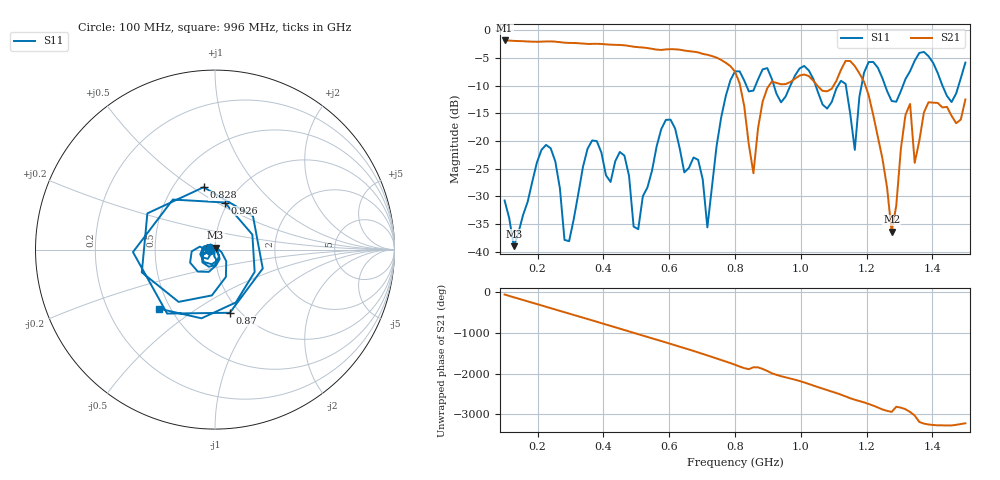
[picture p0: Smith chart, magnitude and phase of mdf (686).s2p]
! NanoVNA-App
! Date: 2025-09-25 15:43:45
! Start: 100MHz Stop: 1,5GHz Points: 101
! S-Parameter data: F S11 S21 S12 S22
# Hz S RI R 50
!  Frequency  S11_Real  S11_Imag  S21_Real  S21_Imag  S12_Real  S12_Imag  S22_Real  S22_Imag
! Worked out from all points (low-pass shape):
!   101 points, 100 MHz to 1.5 GHz, reference 50 ohm
!   highest |S21| = -1.80 dB at 100 MHz (marker M1); lowest = -36.4 dB at 1.276 GHz (marker M2)
!   |S21| within 3 dB of the highest: start of sweep to 739.1 MHz
!   lowest |S11| = -39.0 dB at 128 MHz (marker M3), VSWR 1.02, Z = 50.3 + j1.08 ohm
!   |S11| at or under -10 dB: start of sweep to 781.1 MHz; 1.045 GHz to 1.113 GHz (67.56 MHz wide, 6.26 % of centre); 1.256 GHz to 1.31 GHz (53.83 MHz wide, 4.2 % of centre) (the widest 3 of 7)
!   S12 and S22 are empty: the file has one direction only
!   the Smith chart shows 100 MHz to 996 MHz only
!   S11 on the Smith chart (normalised r, x): 100 MHz: 0.94, -0.01; 828 MHz: 0.70, +0.56; 870 MHz: 0.90, -0.73; 926 MHz: 0.96, +0.55; 996 MHz: 0.44, -0.36
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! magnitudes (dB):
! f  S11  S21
! 100 MHz  -30.7  -1.8
! 128 MHz  -39.0  -1.9
! 212 MHz  -21.6  -2.0
! 282 MHz  -37.9  -2.2
! 338 MHz  -24.7  -2.4
! 464 MHz  -22.6  -2.7
! 506 MHz  -35.9  -3.0
! 576 MHz  -17.8  -3.5
! 716 MHz  -35.6  -4.4
! 800 MHz  -7.4  -7.4
! 828 MHz  -9.0  -13.7
! 856 MHz  -10.9  -25.8
! 870 MHz  -8.8  -17.7
! 926 MHz  -11.4  -9.5
! 996 MHz  -6.9  -8.2
! 1.038 GHz  -8.7  -9.1
! 1.164 GHz  -21.6  -6.4
! 1.192 GHz  -7.6  -9.3
! 1.276 GHz  -12.7  -36.4
! 1.332 GHz  -7.3  -13.3
! 1.346 GHz  -5.5  -23.9
! 1.5 GHz  -5.8  -12.5
